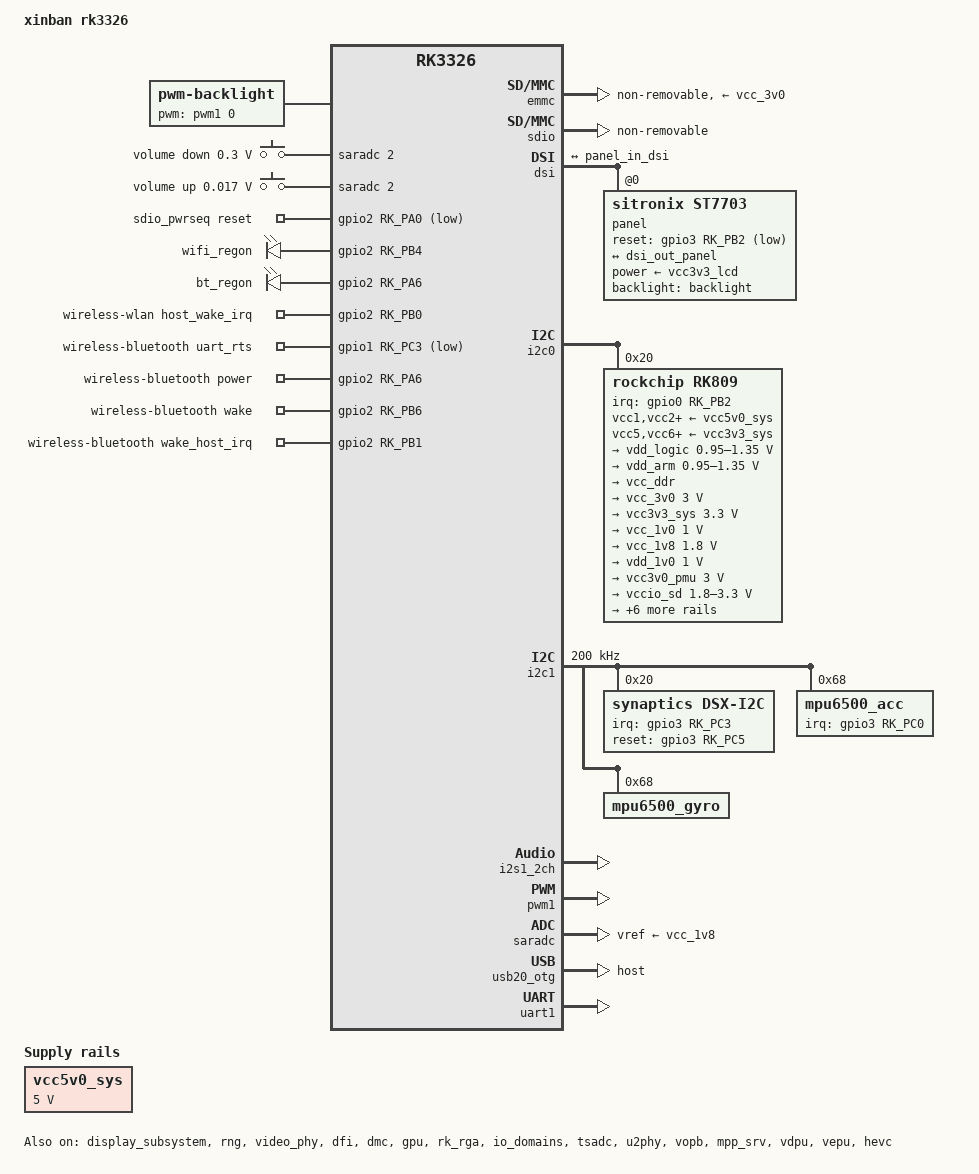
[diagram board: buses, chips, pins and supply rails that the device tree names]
// SPDX-License-Identifier: (GPL-2.0+ OR MIT)
/*
 * Copyright (c) 2019 Hardkernel Co., Ltd
 * Copyright (c) 2020 Theobroma Systems Design und Consulting GmbH
 * Copyright (c) 2022 Maya Matuszczyk <maccraft123mc@gmail.com>
 */

/dts-v1/;
#include <dt-bindings/gpio/gpio.h>
#include <dt-bindings/input/input.h>
#include <dt-bindings/leds/common.h>
#include <dt-bindings/pinctrl/rockchip.h>
#include <dt-bindings/display/drm_mipi_dsi.h>
#include "rk3326.dtsi"
#include <dt-bindings/sensor-dev.h>
/ {
	
	model = "xinban rk3326";
	compatible = "xinban,rk3326", "rockchip,rk3326";
	
	fiq-debugger {
		compatible = "rockchip,fiq-debugger";
		rockchip,serial-id = <2>;
		rockchip,wake-irq = <0>;
		/* If enable uart uses irq instead of fiq */
		rockchip,irq-mode-enable = <1>;
		rockchip,baudrate = <1500000>;  /* Only 115200 and 1500000 */
		interrupts = <GIC_SPI 127 IRQ_TYPE_LEVEL_LOW>;
		pinctrl-names = "default";
		pinctrl-0 = <&uart2m0_xfer>;
		status = "okay";
	};

	aliases {
		mmc0 = &emmc;
		mmc1 = &sdio;
	};
	
	reserved-memory {
		#address-cells = <2>;
		#size-cells = <2>;
		ranges;

		drm_logo: drm-logo@0 {
			compatible = "rockchip,drm-logo";
			reg = <0x0 0x0 0x0 0x0>;
		};

		ramoops: ramoops@110000 {
			compatible = "ramoops";
			reg = <0x0 0x110000 0x0 0xf0000>;
			record-size = <0x20000>;
			console-size = <0x80000>;
			ftrace-size = <0x00000>;
			pmsg-size = <0x50000>;
		};
	};
	
	chosen: chosen {
		bootargs = "earlycon=uart8250,mmio32,0xfe660000 console=ttyFIQ0";
	};

	backlight: backlight {
		compatible = "pwm-backlight";
		pwms = <&pwm1 0 25000 0>;
		brightness-levels = <
			  0   1   2   3   4   5   6   7
			  8   9  10  11  12  13  14  15
			 16  17  18  19  20  21  22  23
			 24  25  26  27  28  29  30  31
			 32  33  34  35  36  37  38  39
			 40  41  42  43  44  45  46  47
			 48  49  50  51  52  53  54  55
			 56  57  58  59  60  61  62  63
			 64  65  66  67  68  69  70  71
			 72  73  74  75  76  77  78  79
			 80  81  82  83  84  85  86  87
			 88  89  90  91  92  93  94  95
			 96  97  98  99 100 101 102 103
			104 105 106 107 108 109 110 111
			112 113 114 115 116 117 118 119
			120 121 122 123 124 125 126 127
			128 129 130 131 132 133 134 135
			136 137 138 139 140 141 142 143
			144 145 146 147 148 149 150 151
			152 153 154 155 156 157 158 159
			160 161 162 163 164 165 166 167
			168 169 170 171 172 173 174 175
			176 177 178 179 180 181 182 183
			184 185 186 187 188 189 190 191
			192 193 194 195 196 197 198 199
			200 201 202 203 204 205 206 207
			208 209 210 211 212 213 214 215
			216 217 218 219 220 221 222 223
			224 225 226 227 228 229 230 231
			232 233 234 235 236 237 238 239
			240 241 242 243 244 245 246 247
			248 249 250 251 252 253 254 255>;
		default-brightness-level = <200>;
	};

	adc-keys {
		compatible = "adc-keys";
		io-channels = <&saradc 2>;
		io-channel-names = "buttons";
		keyup-threshold-microvolt = <1800000>;
		poll-interval = <100>;

		button-down {
			label = "volume down";
			linux,code = <KEY_VOLUMEDOWN>;
			press-threshold-microvolt = <300000>;
		};

		button-up {
			label = "volume up";
			linux,code = <KEY_VOLUMEUP>;
			press-threshold-microvolt = <17000>;
		};
	};
	
	rk809-sound {
		compatible = "simple-audio-card";
		simple-audio-card,name = "rockchip,rk809-codec";
		simple-audio-card,mclk-fs = <256>;

		simple-audio-card,widgets =
			"Microphone Left", "Mic Jack L",
			"Microphone Right", "Mic Jack R",
			"Speaker", "Speaker Jack",
			"Speaker Alt", "Alt Speaker Jack";

		simple-audio-card,routing =
			"Mic Jack L", "IN1P",
			"Mic Jack R", "IN1N",

			"Speaker Jack", "SPOL",
			"Speaker Jack", "SPOR",
			"Alt Speaker Jack", "HPOL",
			"Alt Speaker Jack", "HPOR";

		simple-audio-card,dai-link@0 {
			format = "i2s";
			cpu {
			sound-dai = <&i2s1_2ch>;
			};
			codec {
			sound-dai = <&rk809_codec 0>;
			};
		};
	};

	sdio_pwrseq: sdio-pwrseq {
		compatible = "mmc-pwrseq-simple";
		pinctrl-names = "default";
		pinctrl-0 = <&wifi_enable_h>;

		/*
		 * On the module itself this is one of these (depending
		 * on the actual card populated):
		 * - SDIO_RESET_L_WL_REG_ON
		 * - PDN (power down when low)
		 */
		reset-gpios = <&gpio2 RK_PA0 GPIO_ACTIVE_LOW>;
	};
	
	leds {
		compatible = "gpio-leds";
		pinctrl-names = "default";
		pinctrl-0 = <&wifi_regon_pin>, <&bt_regon_pin>;

		wifi_regon: led-0 {
			label = "wifi_regon";
			default-state = "on";
			gpios = <&gpio2 RK_PB4 GPIO_ACTIVE_HIGH>;
		};

		bt_regon: led-1 {
			label = "bt_regon";
			default-state = "on";
			gpios = <&gpio2 RK_PA6 GPIO_ACTIVE_HIGH>;
		};
	};

	wireless-wlan {
		compatible = "wlan-platdata";
		rockchip,grf = <&grf>;
		wifi_chip_type = "aic8800";
		WIFI,host_wake_irq = <&gpio2 RK_PB0 GPIO_ACTIVE_HIGH>;
		status = "okay";
	};

	wireless-bluetooth {
		compatible = "bluetooth-platdata";
		pinctrl-names = "default", "rts_gpio";
		pinctrl-0 = <&uart1_rts>;
		pinctrl-1 = <&uart1_gpios>;
		uart_rts_gpios = <&gpio1 RK_PC3 GPIO_ACTIVE_LOW>;
		BT,power_gpio = <&gpio2 RK_PA6 GPIO_ACTIVE_HIGH>;
		BT,wake_gpio = <&gpio2 RK_PB6 GPIO_ACTIVE_HIGH>;
		BT,wake_host_irq = <&gpio2 RK_PB1 GPIO_ACTIVE_HIGH>;
		status = "okay";
	};
	
	vcc5v0_sys: vccsys {
		compatible = "regulator-fixed";
		regulator-name = "vcc5v0_sys";
		regulator-always-on;
		regulator-boot-on;
		regulator-min-microvolt = <5000000>;
		regulator-max-microvolt = <5000000>;
	};
};

&cpu0 {
	cpu-supply = <&vdd_arm>;
};

&cpu1 {
	cpu-supply = <&vdd_arm>;
};

&cpu2 {
	cpu-supply = <&vdd_arm>;
};

&cpu3 {
	cpu-supply = <&vdd_arm>;
};

&cpu0_opp_table {
	rockchip,avs = <1>;
};

&display_subsystem {
	status = "okay";
	logo-memory-region = <&drm_logo>;

	route {
		route_lvds: route-lvds {
			status = "disabled";
			logo,uboot = "logo.bmp";
			logo,kernel = "logo_kernel.bmp";
			logo,mode = "center";
			charge_logo,mode = "center";
			connect = <&vopb_out_lvds>;
		};

		route_dsi: route-dsi {
			status = "okay";
			logo,uboot = "logo.bmp";
			logo,kernel = "logo_kernel.bmp";
			logo,mode = "center";
			charge_logo,mode = "center";
			connect = <&vopb_out_dsi>;
		};

		route_rgb: route-rgb {
			status = "disabled";
			logo,uboot = "logo.bmp";
			logo,kernel = "logo_kernel.bmp";
			logo,mode = "center";
			charge_logo,mode = "center";
			connect = <&vopb_out_rgb>;
		};
	};
};

&rng {
	status = "okay";
};

&video_phy {
	status = "okay";
};

&emmc {
	cap-mmc-highspeed;
	mmc-hs200-1_8v;
	non-removable;
	vmmc-supply = <&vcc_3v0>;
	vqmmc-supply = <&vccio_flash>;
	status = "okay";
};

&sdio {
	cap-sd-highspeed;
	keep-power-in-suspend;
	non-removable;
	mmc-pwrseq = <&sdio_pwrseq>;
	sd-uhs-sdr104;
	status = "okay";
};

&dsi {
	status = "okay";

	panel@0 {
		compatible = "sitronix,st7703", "simple-panel-dsi";
		reg = <0>;
		backlight = <&backlight>;

		reset-delay-ms = <20>;
		init-delay-ms = <20>;
		enable-delay-ms = <120>;
		disable-delay-ms = <60>;
		prepare-delay-ms = <120>;
		unprepare-delay-ms = <60>;
		
		dsi,flags = <(MIPI_DSI_MODE_VIDEO | MIPI_DSI_MODE_VIDEO_BURST |
			      MIPI_DSI_MODE_LPM | MIPI_DSI_MODE_NO_EOT_PACKET)>;
		dsi,format = <MIPI_DSI_FMT_RGB888>;
		dsi,lanes = <4>;
		
		power-supply = <&vcc3v3_lcd>;
		reset-gpios = <&gpio3 RK_PB2 GPIO_ACTIVE_LOW>;

	panel-init-sequence = [
		15 00 02 FE 00
		15 00 02 C2 08
		15 00 02 35 00
		15 00 02 53 20
		15 00 02 51 FF
		
		05 78 01 01    //add for reboot init fail
		
		05 78 01 29
		05 78 01 11
	];

	panel-exit-sequence = [
		05 00 01 28
		05 78 01 10
	];

        disp_timings0: display-timings {
		native-mode = <&dsi0_timing0>;
		dsi0_timing0: timing0 {
			clock-frequency = <83000000>;
			hactive = <1088>;
			hdisplay = <1080>;
			vactive = <1920>;
			hback-porch = <33>;
			hfront-porch = <96>;
			vback-porch = <3>;
			vfront-porch = <4>;
			hsync-len = <12>;
			vsync-len = <1>;
			hsync-active = <0>;
			vsync-active = <0>;
			de-active = <0>;
			pixelclk-active = <0>;

		};
        };
		
		ports {
			#address-cells = <1>;
			#size-cells = <0>;

			port@0 {
				reg = <0>;
				panel_in_dsi: endpoint {
					remote-endpoint = <&dsi_out_panel>;
				};
			};
		};
	};

	ports {
		#address-cells = <1>;
		#size-cells = <0>;

		port@1 {
			reg = <1>;
			dsi_out_panel: endpoint {
				remote-endpoint = <&panel_in_dsi>;
			};
		};
	};
};

&bus_apll {
	bus-supply = <&vdd_logic>;
	status = "okay";
};

&dfi {
	status = "okay";
};

&dmc {
	center-supply = <&vdd_logic>;
	status = "okay";
};

&gpu {
	clock-names = "gpu","bus";
	interrupt-names = "gpu", "mmu", "job";
	mali-supply = <&vdd_logic>;
	status = "okay";
};

&rk_rga {
	status = "okay";
};

&rockchip_suspend {
	status = "okay";
	rockchip,sleep-debug-en = <1>;
};

&i2c0 {
	status = "okay";

	rk809: pmic@20 {
		compatible = "rockchip,rk809";
		reg = <0x20>;
		interrupt-parent = <&gpio0>;
		interrupts = <RK_PB2 IRQ_TYPE_LEVEL_LOW>;
		pinctrl-names = "default";
		pinctrl-0 = <&pmic_int>;
		rockchip,system-power-controller;
		wakeup-source;
		#clock-cells = <0>;
		clock-output-names = "xin32k";

		vcc1-supply = <&vcc5v0_sys>;
		vcc2-supply = <&vcc5v0_sys>;
		vcc3-supply = <&vcc5v0_sys>;
		vcc4-supply = <&vcc5v0_sys>;
		vcc5-supply = <&vcc3v3_sys>;
		vcc6-supply = <&vcc3v3_sys>;
		vcc7-supply = <&vcc3v3_sys>;
		vcc8-supply = <&vcc3v3_sys>;
		vcc9-supply = <&vcc5v0_sys>;
        
		pwrkey {
			status = "okay";
		};
        
		regulators {
			vdd_logic: DCDC_REG1 {
				regulator-name = "vdd_logic";
				regulator-min-microvolt = <950000>;
				regulator-max-microvolt = <1350000>;
				regulator-ramp-delay = <6001>;
				regulator-always-on;
				regulator-boot-on;

				regulator-state-mem {
					regulator-on-in-suspend;
					regulator-suspend-microvolt = <950000>;
				};
			};

			vdd_arm: DCDC_REG2 {
				regulator-name = "vdd_arm";
				regulator-min-microvolt = <950000>;
				regulator-max-microvolt = <1350000>;
				regulator-ramp-delay = <6001>;
				regulator-always-on;
				regulator-boot-on;

				regulator-state-mem {
					regulator-off-in-suspend;
					regulator-suspend-microvolt = <950000>;
				};
			};

			vcc_ddr: DCDC_REG3 {
				regulator-name = "vcc_ddr";
				regulator-always-on;
				regulator-boot-on;

				regulator-state-mem {
					regulator-on-in-suspend;
				};
			};

			vcc_3v0: vcc_rmii: DCDC_REG4 {
				regulator-name = "vcc_3v0";
				regulator-min-microvolt = <3000000>;
				regulator-max-microvolt = <3000000>;
				regulator-always-on;
				regulator-boot-on;

				regulator-state-mem {
					regulator-on-in-suspend;
					regulator-suspend-microvolt = <3000000>;
				};
			};

			vcc3v3_sys: DCDC_REG5 {
				regulator-name = "vcc3v3_sys";
				regulator-min-microvolt = <3300000>;
				regulator-max-microvolt = <3300000>;
				regulator-always-on;
				regulator-boot-on;

				regulator-state-mem {
					regulator-on-in-suspend;
					regulator-suspend-microvolt = <3300000>;
				};
			};

			vcc_1v0: LDO_REG1 {
				regulator-name = "vcc_1v0";
				regulator-min-microvolt = <1000000>;
				regulator-max-microvolt = <1000000>;
				regulator-always-on;
				regulator-boot-on;

				regulator-state-mem {
					regulator-on-in-suspend;
					regulator-suspend-microvolt = <1000000>;
				};
			};

			vcc_1v8: vccio_flash: vccio_sdio: LDO_REG2 {
				regulator-name = "vcc_1v8";
				regulator-min-microvolt = <1800000>;
				regulator-max-microvolt = <1800000>;
				regulator-always-on;
				regulator-boot-on;

				regulator-state-mem {
					regulator-on-in-suspend;
					regulator-suspend-microvolt = <1800000>;
				};
			};

			vdd_1v0: LDO_REG3 {
				regulator-name = "vdd_1v0";
				regulator-min-microvolt = <1000000>;
				regulator-max-microvolt = <1000000>;
				regulator-always-on;
				regulator-boot-on;

				regulator-state-mem {
					regulator-on-in-suspend;
					regulator-suspend-microvolt = <1000000>;
				};
			};

			vcc3v0_pmu: LDO_REG4 {
				regulator-name = "vcc3v0_pmu";
				regulator-min-microvolt = <3000000>;
				regulator-max-microvolt = <3000000>;
				regulator-always-on;
				regulator-boot-on;

				regulator-state-mem {
					regulator-on-in-suspend;
					regulator-suspend-microvolt = <3000000>;
				};
			};

			vccio_sd: LDO_REG5 {
				regulator-name = "vccio_sd";
				regulator-min-microvolt = <1800000>;
				regulator-max-microvolt = <3300000>;
				regulator-always-on;
				regulator-boot-on;

				regulator-state-mem {
					regulator-on-in-suspend;
					regulator-suspend-microvolt = <3300000>;
				};
			};

			vcc_sd: LDO_REG6 {
				regulator-name = "vcc_sd";
				regulator-min-microvolt = <3300000>;
				regulator-max-microvolt = <3300000>;
				regulator-always-on;
				regulator-boot-on;

				regulator-state-mem {
					regulator-on-in-suspend;
					regulator-suspend-microvolt = <3300000>;
				};
			};

			vcc2v8_dvp: LDO_REG7 {
				regulator-name = "vcc2v8_dvp";
				regulator-min-microvolt = <2800000>;
				regulator-max-microvolt = <2800000>;
				regulator-always-on;
				regulator-boot-on;

				regulator-state-mem {
					regulator-off-in-suspend;
					regulator-suspend-microvolt = <2800000>;
				};
			};

			vcc1v8_dvp: LDO_REG8 {
				regulator-name = "vcc1v8_dvp";
				regulator-min-microvolt = <1800000>;
				regulator-max-microvolt = <1800000>;
				regulator-always-on;
				regulator-boot-on;

				regulator-state-mem {
					regulator-on-in-suspend;
					regulator-suspend-microvolt = <1800000>;
				};
			};

			vcc1v2_dvp: LDO_REG9 {
				regulator-name = "vcc1v2_dvp";
				regulator-min-microvolt = <1200000>;
				regulator-max-microvolt = <1200000>;
				regulator-always-on;
				regulator-boot-on;

				regulator-state-mem {
					regulator-off-in-suspend;
					regulator-suspend-microvolt = <1200000>;
				};
			};

			vcc3v3_lcd: SWITCH_REG1 {
				regulator-name = "vcc3v3_lcd";
				regulator-always-on;
				regulator-boot-on;
			};

			vcc5v0_host: SWITCH_REG2 {
				regulator-name = "vcc5v0_host";
				regulator-always-on;
				regulator-boot-on;
			};
		};
		rk809_codec: codec {
			#sound-dai-cells = <0>;
			compatible = "rockchip,rk809-codec", "rockchip,rk817-codec";
			clocks = <&cru SCLK_I2S1_OUT>;
			clock-names = "mclk";
			pinctrl-names = "default";
			pinctrl-0 = <&i2s1_2ch_mclk>;
			hp-volume = <20>;
			spk-volume = <20>;
			status = "okay";
		};

		battery {
			compatible = "rk817,battery";
			ocv_table = <3500 3625 3685 3697 3718 3735 3748
					3760 3774 3788 3802 3816 3834 3853
					3877 3908 3946 3975 4018 4071 4106>;
			design_capacity = <2500>;
			design_qmax = <2750>;
			bat_res = <100>;
			sleep_enter_current = <300>;
			sleep_exit_current = <300>;
			sleep_filter_current = <100>;
			power_off_thresd = <3500>;
			zero_algorithm_vol = <3850>;
			max_soc_offset = <60>;
			monitor_sec = <5>;
			sample_res = <10>;
			virtual_power = <0>;
			register_chg_psy = <1>;
			bat_res_up = <140>;
			bat_res_down = <20>;
		};
	};
};

&i2c1 {
	status = "okay";
	clock-frequency = <200000>;

	synaptics@20 {
		compatible = "synaptics,dsx-i2c";
		reg = <0x20>;
		pinctrl-0 = <&ts_int>;
		pinctrl-names = "default";
		synaptics,irq-gpio = <&gpio3 RK_PC3 IRQ_TYPE_EDGE_FALLING>;
		synaptics,reset-gpio = <&gpio3 RK_PC5 GPIO_ACTIVE_HIGH>;
		synaptics,irq-on-state = <0>;
		synaptics,power-delay-ms = <200>;
		synaptics,reset-delay-ms = <200>;
		synaptics,reset-on-state = <0>;
		synaptics,reset-active-ms = <20>;
		status = "okay";
	};
	
	mpu6500_acc: mpu_acc@68 {
		compatible = "mpu6500_acc";
		reg = <0x68>;
		irq-gpio = <&gpio3 RK_PC0 IRQ_TYPE_EDGE_RISING>;
		irq_enable = <0>;
		poll_delay_ms = <30>;
		type = <SENSOR_TYPE_ACCEL>;
		layout = <5>;
	};

	mpu6500_gyro: mpu_gyro@68 {
		compatible = "mpu6500_gyro";
		reg = <0x68>;
		poll_delay_ms = <30>;
		type = <SENSOR_TYPE_GYROSCOPE>;
		layout = <5>;
	};
};

&i2s1_2ch {
	status = "okay";
};

&pmu_io_domains {
	status = "okay";

	pmuio1-supply = <&vcc_1v8>;
	pmuio2-supply = <&vcc3v0_pmu>;
};

&io_domains {
	status = "okay";

	vccio1-supply = <&vccio_sdio>;
	vccio2-supply = <&vccio_sd>;
	vccio3-supply = <&vcc1v8_dvp>;
	vccio4-supply = <&vcc_3v0>;
	vccio5-supply = <&vcc_3v0>;
	vccio6-supply = <&vccio_flash>;
};

&pwm1 {
	status = "okay";
};

&saradc {
	vref-supply = <&vcc_1v8>;
	status = "okay";
};

&tsadc {
	status = "okay";
};

&u2phy {
	status = "okay";

	u2phy_host: host-port {
        phy-supply = <&vcc5v0_host>;  
		status = "okay";
	};

	u2phy_otg: otg-port {
		status = "disabled";
	};
};

&usb20_otg {
    dr_mode = "host";
	status = "okay";
};

&uart1 {
	pinctrl-names = "default";
	pinctrl-0 = <&uart1_xfer &uart1_cts>;
	status = "okay";
};

&vopb {
	status = "okay";
};

&vopb_mmu {
	status = "okay";
};

&mpp_srv {
	status = "okay";
};

&vdpu {
	status = "okay";
};

&vepu {
	status = "okay";
};

&vpu_mmu {
	status = "okay";
};

&hevc {
	status = "okay";
};

&hevc_mmu {
	status = "okay";
};

&pinctrl {
	
	pmic {

		pmic_int: pmic-int {
			rockchip,pins = <0 RK_PB2 RK_FUNC_GPIO &pcfg_pull_up>;
		};

		soc_slppin_gpio: soc_slppin_gpio {
			rockchip,pins = <0 RK_PA4 RK_FUNC_GPIO &pcfg_output_low>;
		};

		soc_slppin_rst: soc_slppin_rst {
			rockchip,pins = <0 RK_PA4 2 &pcfg_pull_none>;
		};

		soc_slppin_slp: soc_slppin_slp {
			rockchip,pins = <0 RK_PA4 1 &pcfg_pull_none>;
		};
	};
	
	sdio-pwrseq {
		wifi_enable_h: wifi-enable-h {
			rockchip,pins = <2 RK_PB4 RK_FUNC_GPIO &pcfg_pull_none>;
		};
	};

	wl_bt_pwr {
		wifi_regon_pin: wifi-regon-pin {
			rockchip,pins = <2 RK_PB4 RK_FUNC_GPIO &pcfg_pull_up>;
		};
		bt_regon_pin: bt-regon-pin {
			rockchip,pins = <2 RK_PA6 RK_FUNC_GPIO &pcfg_pull_up>;
		};
	};

	wireless-wlan {
		wifi_host_wake_irq: wifi-host-wake-irq {
			rockchip,pins = <2 RK_PB0 RK_FUNC_GPIO &pcfg_pull_down>;
		};
	};

	wireless-bluetooth {
		uart1_gpios: uart1-gpios {
			rockchip,pins = <1 RK_PC3 RK_FUNC_GPIO &pcfg_pull_none>;
		};
	};
	
	synaptics{
		ts_int: ts-int {
			rockchip,pins = <3 RK_PC3 RK_FUNC_GPIO &pcfg_pull_up>;
		};
	};
};

